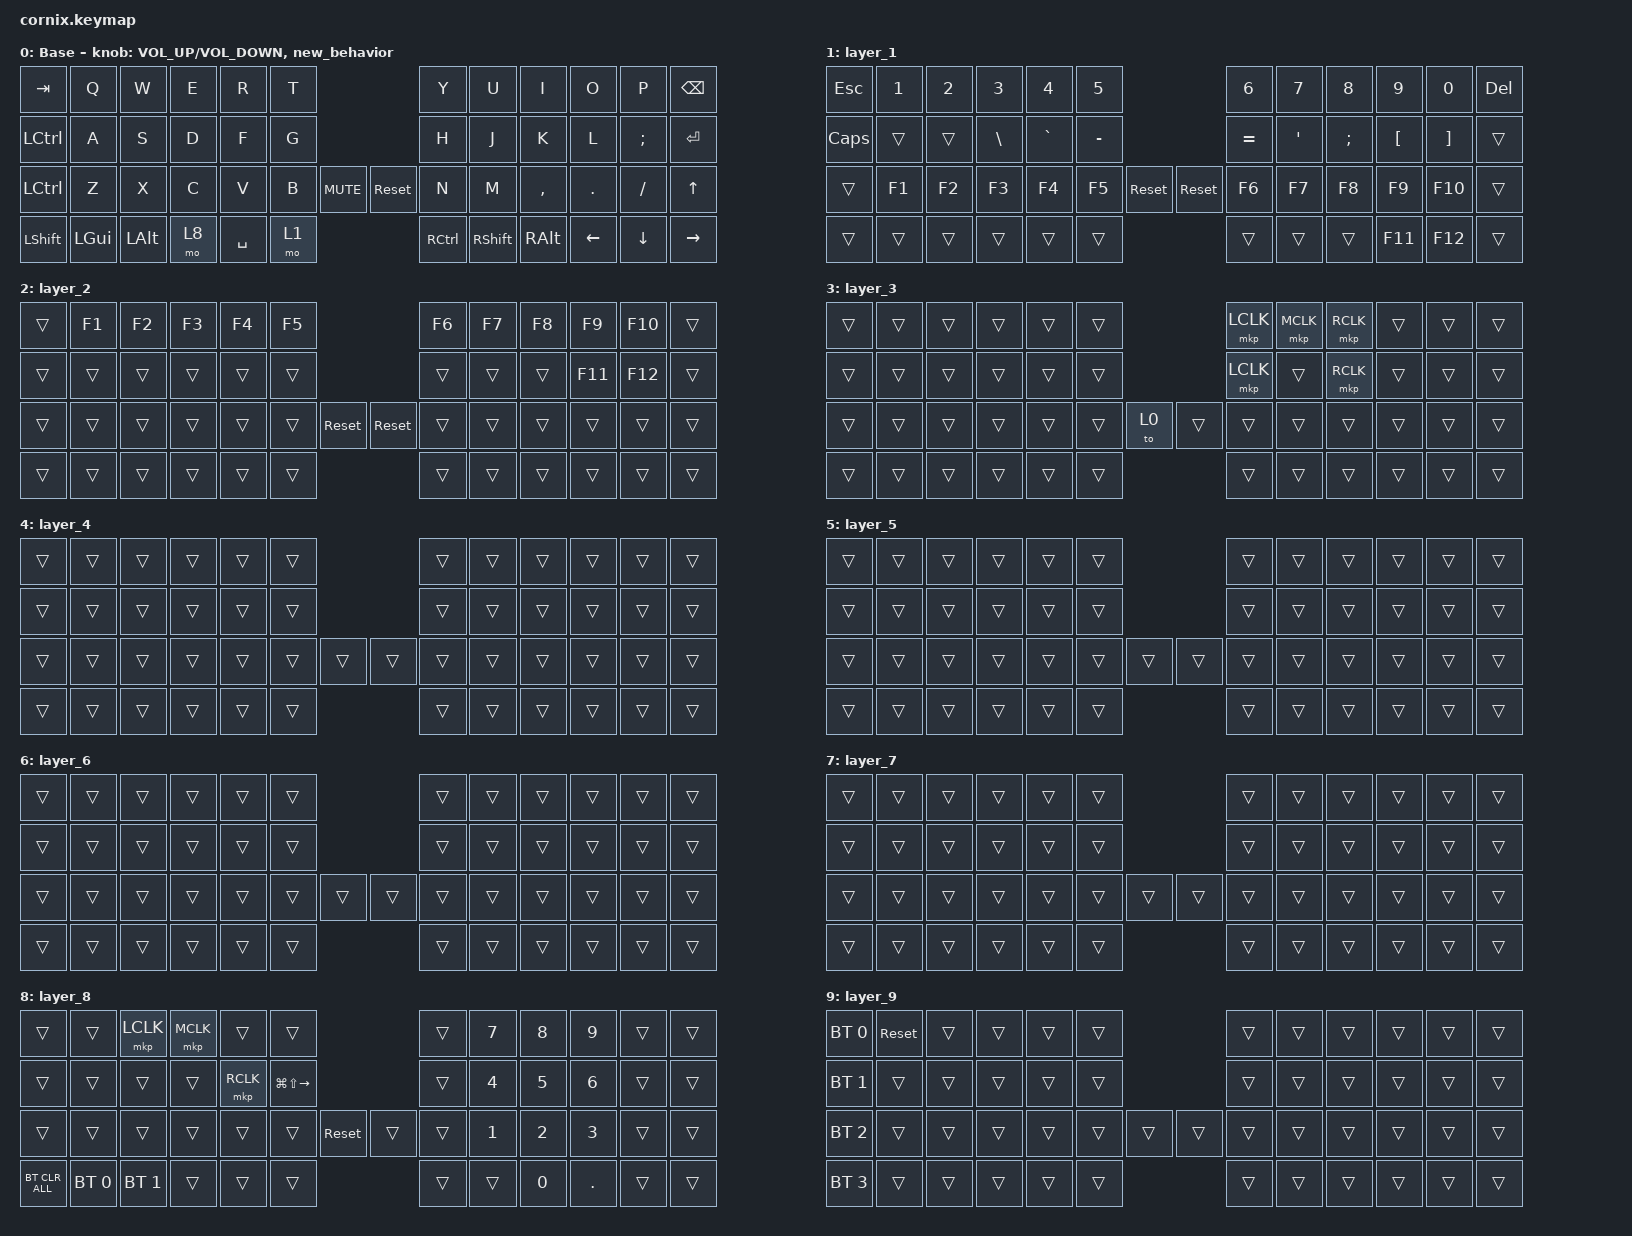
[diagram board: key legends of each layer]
/*
 * Copyright (c) 2020 The ZMK Contributors
 *
 * SPDX-License-Identifier: MIT
 */

#include "zmk-helpers/helper.h"
#include "includes/cornix54.h"

// tap windows for ctl alt and gui

#define HM_TAPPING_TERM 250
#define HM_TAPPING_REPEAT 210

// quick tapping for shift

#define HM_TAPPING_TERM_FAST 200
#define HM_PRIOR_IDLE 70
#define BASE 0
#define WIN 1
#define LOWER 2
#define RAISE 3
#define ADJUST 4
#define NAVI   5
#define NUM    6
#define DEBUG  7

// https://github.com/urob/zmk-config/tree/main#timeless-homerow-mods

#define KEYS_L LT0 LT1 LT2 LT3 LT4 LT5 LM0 LM1 LM2 LM3 LM4 LM5 LB0 LB1 LB2 LB3 LB4 LB5  // left hand
#define KEYS_R RT0 RT1 RT2 RT3 RT4 RT5 RM0 RM1 RM2 RM3 RM4 RM5 RB0 RB1 RB2 RB3 RB4 RB5  // right hand
#define THUMBS LH1 LH0 RH0 RH1
#define KEYS_T LH1 LH0 RH0 RH1
#define ZMK_POINTING_DEFAULT_SCRL_VAL 15

#include <behaviors.dtsi>
#include <dt-bindings/zmk/bt.h>
#include <dt-bindings/zmk/keys.h>
#include <dt-bindings/zmk/pointing.h>

/ {
    // Activate ADJUST layer by pressing raise and lower

    behaviors {
        hm_l: homerow_mods_left {
            compatible = "zmk,behavior-hold-tap";
            #binding-cells = <2>;
            bindings = <&kp>, <&kp>;

            flavor = "balanced";
            tapping-term-ms = <HM_TAPPING_TERM>;
            quick-tap-ms = <200>;                // repeat on tap-into-hold
            require-prior-idle-ms = <HM_PRIOR_IDLE>;
            hold-trigger-key-positions = <KEYS_R KEYS_T>;
            hold-trigger-on-release;
        };

        hm_r: homerow_mods_right {
            compatible = "zmk,behavior-hold-tap";
            #binding-cells = <2>;
            bindings = <&kp>, <&kp>;

            flavor = "balanced";
            tapping-term-ms = <HM_TAPPING_TERM>;
            quick-tap-ms = <200>;
            require-prior-idle-ms = <HM_PRIOR_IDLE>;
            hold-trigger-key-positions = <KEYS_L KEYS_T>;
            hold-trigger-on-release;
        };

        // Positional Homerow mods for shift
        // Use faster tapping term and disable some features that may
        // cause false negatives.

        hm_shift_l: hm_shift_l {
            compatible = "zmk,behavior-hold-tap";
            #binding-cells = <2>;
            bindings = <&kp>, <&kp>;

            //flavor = "balanced";

            flavor = "balanced";
            tapping-term-ms = <HM_TAPPING_TERM_FAST>;
            quick-tap-ms = <200>;
            require-prior-idle-ms = <HM_PRIOR_IDLE>;
            hold-trigger-key-positions = <KEYS_R KEYS_T>;
            hold-trigger-on-release;
        };

        hm_shift_r: hm_shift_r {
            compatible = "zmk,behavior-hold-tap";
            #binding-cells = <2>;
            bindings = <&kp>, <&kp>;

            flavor = "balanced";
            tapping-term-ms = <HM_TAPPING_TERM_FAST>;
            quick-tap-ms = <200>;
            require-prior-idle-ms = <HM_PRIOR_IDLE>;
            hold-trigger-key-positions = <KEYS_L KEYS_T>;

            // for quick tapping; shift+~

            hold-trigger-on-release;
        };

        /*
         * Non-Positional Homerow Mods
         * Used for &mm_grescm_gui behavior on left hand.
         *
         * Usage: &hm LSHFT T
         * Tap: T
         * Tap-Tap-Hold: Repeat T
         * Hold: LSHIFT
         */

        hm: homerow_mods {
            compatible = "zmk,behavior-hold-tap";
            #binding-cells = <2>;
            bindings = <&kp>, <&kp>;

            flavor = "balanced";
            tapping-term-ms = <HM_TAPPING_TERM>;
            quick-tap-ms = <200>;
        };

        lt: layer_tap {
            compatible = "zmk,behavior-hold-tap";
            #binding-cells = <2>;
            bindings = <&mo>, <&kp>;

            flavor = "hold-preferred";
            tapping-term-ms = <HM_TAPPING_TERM>;
            quick-tap-ms = <200>;
        };

        new_behavior: new_behavior {
            compatible = "zmk,behavior-sensor-rotate";
            label = "enc_to_layer";
            #sensor-binding-cells = <0>;
            bindings = <&to 3>, <&to 0>;
        };
    };

    conditional_layers {
        compatible = "zmk,conditional-layers";

        adjust_layer {
            if-layers = <1 1>;
            then-layer = <1>;
        };
    };

    combos { compatible = "zmk,combos"; };

    keymap {
        compatible = "zmk,keymap";

        default_layer {
            display-name = "Base";

            // ------------------------------------------------------------------------------------------------------------
            // |   `   |  1  |  2  |  3   |  4   |  5   |                   |  6   |  7    |  8    |  9   |   0   |       |
            // |  ESC  |  Q  |  W  |  E   |  R   |  T   |                   |  Y   |  U    |  I    |  O   |   P   | BKSPC |
            // |  TAB  |  A  |  S  |  D   |  F   |  G   |                   |  H   |  J    |  K    |  L   |   ;   |   '   |
            // | SHIFT |  Z  |  X  |  C   |  V   |  B   |  MUTE  |  |       |  N   |  M    |  ,    |  .   |   /   | SHIFT |
            //               | GUI | ALT  | CTRL | LOWER|  ENTER |  | SPACE | RAISE| CTRL  | ALT   | GUI  |

            bindings = <
&kp TAB         &kp Q         &kp W         &kp E  &kp R      &kp T                          &kp Y      &kp U            &kp I          &kp O           &kp P           &kp BACKSPACE
&kp LCTRL       &kp A         &kp S         &kp D  &kp F      &kp G                          &kp H      &kp J            &kp K          &kp L           &kp SEMICOLON   &kp ENTER
&kp LCTRL       &kp Z         &kp X         &kp C  &kp V      &kp B  &kp K_MUTE  &sys_reset  &kp N      &kp M            &kp COMMA      &kp DOT         &kp FSLH        &kp UP_ARROW
&kp LEFT_SHIFT  &kp LEFT_GUI  &kp LEFT_ALT  &mo 8  &kp SPACE  &mo 1                          &kp RCTRL  &kp RIGHT_SHIFT  &kp RIGHT_ALT  &kp LEFT_ARROW  &kp DOWN_ARROW  &kp RIGHT_ARROW
            >;

            sensor-bindings =
                <&inc_dec_kp C_VOLUME_UP C_VOLUME_DOWN>,
                <&new_behavior>;
        };

        layer_1 {
            bindings = <
&kp ESC       &kp N1  &kp N2  &kp N3         &kp N4     &kp N5                             &kp N6     &kp N7    &kp N8         &kp N9    &kp N0    &kp DEL
&kp CAPSLOCK  &trans  &trans  &kp BACKSLASH  &kp GRAVE  &kp MINUS                          &kp EQUAL  &kp APOS  &kp SEMICOLON  &kp LBKT  &kp RBKT  &trans
&trans        &kp F1  &kp F2  &kp F3         &kp F4     &kp F5     &sys_reset  &sys_reset  &kp F6     &kp F7    &kp F8         &kp F9    &kp F10   &trans
&trans        &trans  &trans  &trans         &trans     &trans                             &trans     &trans    &trans         &kp F11   &kp F12   &trans
            >;
        };

        layer_2 {
            bindings = <
&trans  &kp F1  &kp F2  &kp F3  &kp F4  &kp F5                          &kp F6  &kp F7  &kp F8  &kp F9   &kp F10  &trans
&trans  &trans  &trans  &trans  &trans  &trans                          &trans  &trans  &trans  &kp F11  &kp F12  &trans
&trans  &trans  &trans  &trans  &trans  &trans  &sys_reset  &sys_reset  &trans  &trans  &trans  &trans   &trans   &trans
&trans  &trans  &trans  &trans  &trans  &trans                          &trans  &trans  &trans  &trans   &trans   &trans
            >;
        };

        layer_3 {
            bindings = <
&trans  &trans  &trans  &trans  &trans  &trans                 &mkp LCLK  &mkp MCLK  &mkp RCLK  &trans  &trans  &trans
&trans  &trans  &trans  &trans  &trans  &trans                 &mkp LCLK  &trans     &mkp RCLK  &trans  &trans  &trans
&trans  &trans  &trans  &trans  &trans  &trans  &to 0  &trans  &trans     &trans     &trans     &trans  &trans  &trans
&trans  &trans  &trans  &trans  &trans  &trans                 &trans     &trans     &trans     &trans  &trans  &trans
            >;
        };

        layer_4 {
            bindings = <
&trans  &trans  &trans  &trans  &trans  &trans                  &trans  &trans  &trans  &trans  &trans  &trans
&trans  &trans  &trans  &trans  &trans  &trans                  &trans  &trans  &trans  &trans  &trans  &trans
&trans  &trans  &trans  &trans  &trans  &trans  &trans  &trans  &trans  &trans  &trans  &trans  &trans  &trans
&trans  &trans  &trans  &trans  &trans  &trans                  &trans  &trans  &trans  &trans  &trans  &trans
            >;
        };

        layer_5 {
            bindings = <
&trans  &trans  &trans  &trans  &trans  &trans                  &trans  &trans  &trans  &trans  &trans  &trans
&trans  &trans  &trans  &trans  &trans  &trans                  &trans  &trans  &trans  &trans  &trans  &trans
&trans  &trans  &trans  &trans  &trans  &trans  &trans  &trans  &trans  &trans  &trans  &trans  &trans  &trans
&trans  &trans  &trans  &trans  &trans  &trans                  &trans  &trans  &trans  &trans  &trans  &trans
            >;
        };

        layer_6 {
            bindings = <
&trans  &trans  &trans  &trans  &trans  &trans                  &trans  &trans  &trans  &trans  &trans  &trans
&trans  &trans  &trans  &trans  &trans  &trans                  &trans  &trans  &trans  &trans  &trans  &trans
&trans  &trans  &trans  &trans  &trans  &trans  &trans  &trans  &trans  &trans  &trans  &trans  &trans  &trans
&trans  &trans  &trans  &trans  &trans  &trans                  &trans  &trans  &trans  &trans  &trans  &trans
            >;
        };

        layer_7 {
            bindings = <
&trans  &trans  &trans  &trans  &trans  &trans                  &trans  &trans  &trans  &trans  &trans  &trans
&trans  &trans  &trans  &trans  &trans  &trans                  &trans  &trans  &trans  &trans  &trans  &trans
&trans  &trans  &trans  &trans  &trans  &trans  &trans  &trans  &trans  &trans  &trans  &trans  &trans  &trans
&trans  &trans  &trans  &trans  &trans  &trans                  &trans  &trans  &trans  &trans  &trans  &trans
            >;
        };

        layer_8 {
            bindings = <
&trans          &trans        &mkp LCLK     &mkp MCLK  &trans     &trans                                       &trans  &kp N7  &kp N8  &kp N9   &trans  &trans
&trans          &trans        &trans        &trans     &mkp RCLK  &kp LG(LS(RIGHT_ARROW))                      &trans  &kp N4  &kp N5  &kp N6   &trans  &trans
&trans          &trans        &trans        &trans     &trans     &trans                   &sys_reset  &trans  &trans  &kp N1  &kp N2  &kp N3   &trans  &trans
&bt BT_CLR_ALL  &bt BT_SEL 0  &bt BT_SEL 1  &trans     &trans     &trans                                       &trans  &trans  &kp N0  &kp DOT  &trans  &trans
            >;
        };

        layer_9 {
            bindings = <
&bt BT_SEL 0  &sys_reset  &trans  &trans  &trans  &trans                  &trans  &trans  &trans  &trans  &trans  &trans
&bt BT_SEL 1  &trans      &trans  &trans  &trans  &trans                  &trans  &trans  &trans  &trans  &trans  &trans
&bt BT_SEL 2  &trans      &trans  &trans  &trans  &trans  &trans  &trans  &trans  &trans  &trans  &trans  &trans  &trans
&bt BT_SEL 3  &trans      &trans  &trans  &trans  &trans                  &trans  &trans  &trans  &trans  &trans  &trans
            >;
        };
    };
};
